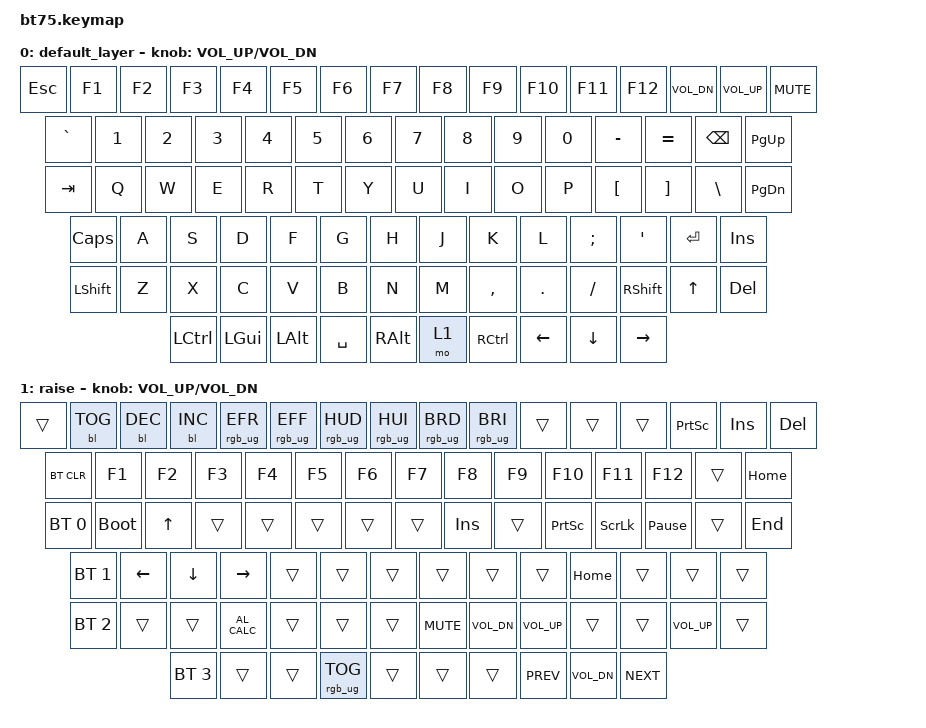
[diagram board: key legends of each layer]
#include <behaviors.dtsi>
#include <dt-bindings/zmk/keys.h>
#include <dt-bindings/zmk/bt.h>
#include <dt-bindings/zmk/rgb.h>
#include <dt-bindings/zmk/backlight.h>
#include <dt-bindings/zmk/ext_power.h>


/ {
	keymap {
		compatible = "zmk,keymap";
		default_layer {
				// ------------------------------------------------------------------------------------------------------------
				// | ESC | F1  | F2  | F3  | F4  | F5  | F6  | F7  | F9  | F9  | F10 | F11 | F12 | VOLUP | VOLDN | Mute	|
				// |  `  |  1  |  2  |  3  |  4  |  5  |  6  |  7  |  8  |  9  |  0  |  -  |  =  |   BKSP   | PG UP	|
				// | TAB  |  Q  |  W  |  E  |  R  |  T  |  Y  |  U  |  I  |  O  |  P  |  [  |  ]  |    \    | PG UP |
				// | CAPS  |  A  |  S  |  D  |  F  |  G  |  H  |  J  |  K  |  L  |  ;  |  '  |     ENTER     | INS |
				// |  SHIFT    |  Z  |  X  |  C  |  V  |  B  |  N  |  M  |  ,  |  .  | /   |    SHIFT |  UP  |  DEL  |
				// |  CTL  |  WIN  |  ALT  |            SPACE               | ALT | 1  | CTRL |  LEFT | DOWN | RIGHT |
				// ------------------------------------------------------------------------------------------------------------
			bindings = <
				&kp ESC &kp F1 &kp F2 &kp F3 &kp F4 &kp F5 &kp F6 &kp F7 &kp  F8   &kp  F9 &kp  F10  &kp F11 &kp F12   &kp C_VOL_DN &kp C_VOL_UP &kp C_MUTE
				&kp GRAVE &kp N1 &kp N2 &kp N3 &kp N4 &kp N5 &kp N6 &kp N7 &kp  N8   &kp  N9   &kp N0 &kp MINUS &kp EQUAL &kp BKSP &kp PG_UP
				&kp TAB  &kp Q  &kp W  &kp E  &kp R  &kp T  &kp Y  &kp U  &kp  I    &kp  O  &kp  P   &kp LBKT &kp RBKT  	&kp BSLH  &kp PG_DN
				&kp CLCK  &kp A  &kp S  &kp D  &kp F  &kp G  &kp H  &kp J  &kp  K    &kp  L  &kp SEMI &kp SQT           	&kp RET &kp INS
				&kp LSHFT  &kp Z  &kp X  &kp C  &kp V  &kp B  &kp N  &kp M  &kp COMMA &kp DOT &kp FSLH              &kp RSHFT &kp UP &kp DEL
				&kp LCTRL &kp LGUI &kp LALT            &kp SPACE                          &kp RALT  &mo 1 &kp RCTRL &kp LEFT &kp DOWN &kp RIGHT
			>;
			sensor-bindings = <&inc_dec_kp C_VOL_UP C_VOL_DN>;
		};
		raise {
			bindings = <
				&trans &bl BL_TOG &bl BL_DEC &bl BL_INC  &rgb_ug RGB_EFR &rgb_ug RGB_EFF &rgb_ug RGB_HUD  &rgb_ug RGB_HUI &rgb_ug RGB_BRD &rgb_ug RGB_BRI &trans &trans &trans &kp PSCRN &kp INS &kp DEL
				&bt BT_CLR  &kp F1 &kp F2 &kp F3 &kp F4 &kp F5 &kp F6 &kp F7 &kp  F8   &kp  F9   &kp F10  &kp F11 &kp F12 &trans &kp HOME
				&bt BT_SEL 0 &bootloader &kp UP &trans &trans &trans &trans &trans &kp INS &trans &kp PSCRN &kp SLCK &kp PAUSE_BREAK &trans &kp END
				&bt BT_SEL 1    &kp LEFT &kp DOWN &kp RIGHT &trans &trans &trans &trans &trans &trans &kp HOME  &trans &trans &trans
				&bt BT_SEL 2 &trans &trans &kp C_AL_CALC &trans &trans &trans &kp C_MUTE &kp C_VOL_DN  &kp C_VOL_UP &trans  &trans &kp C_VOL_UP &trans
				&bt BT_SEL 3 &trans  &trans              &rgb_ug RGB_TOG                            &trans   &trans  &trans &kp C_PREV &kp C_VOL_DN &kp C_NEXT
			>;
			sensor-bindings = <&inc_dec_kp C_VOL_UP C_VOL_DN>;
		};
	};
};
